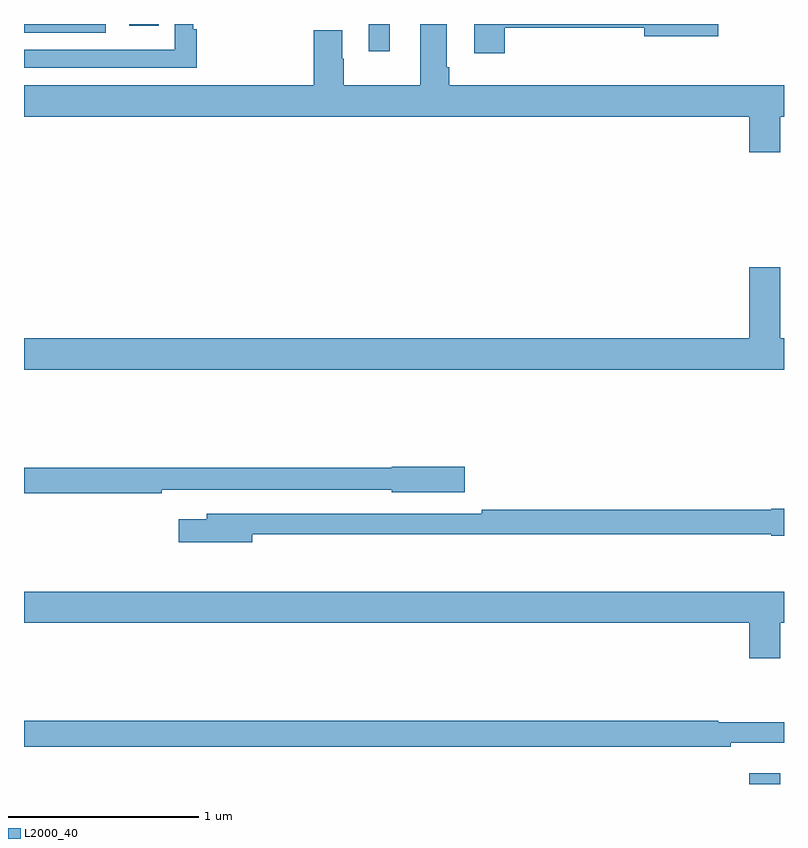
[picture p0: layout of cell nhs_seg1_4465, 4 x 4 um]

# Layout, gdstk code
import gdstk
lib = gdstk.Library(unit=1e-6, precision=1e-09)
def R(c, l, rs):  # rectangles x0, y0, x1, y1
    for r in rs: c.add(gdstk.rectangle(r[:2], r[2:], *l))
def P(c, l, *ps):  # polygons
    for p in ps: c.add(gdstk.Polygon(p, *l))
L2000_40 = (2000, 40)

nhs_seg1_4465 = lib.new_cell('nhs_seg1_4465')
R(nhs_seg1_4465, L2000_40, [(356.816,568.199,356.98,568.255), (354.815,572.055,354.925,572.199), (353,572.154,353.43,572.199), (353.553,572.19,353.708,572.199)])
P(nhs_seg1_4465, L2000_40, [(353.909,572.171),(353.892,572.171),(353.892,572.199),(353.793,572.199),(353.793,572.064),(353,572.064),(353,571.968),(353.909,571.968)],
  [(355.529,572.178),(356.264,572.178),(356.264,572.135),(356.653,572.135),(356.653,572.199),(355.37,572.199),(355.37,572.046),(355.529,572.046)],
  [(356.98,571.712),(357,571.712),(357,571.876),(355.238,571.876),(355.238,571.972),(355.225,571.972),(355.225,572.197),(355.085,572.197),(355.085,571.876),(354.684,571.876),(354.684,572.015),(354.676,572.015),(354.676,572.165),(354.524,572.165),(354.524,571.876),(353,571.876),(353,571.712),(356.816,571.712),(356.816,571.524),(356.98,571.524)],
  [(357,570.544),(356.98,570.544),(356.98,570.919),(356.816,570.919),(356.816,570.544),(353,570.544),(353,570.38),(357,570.38)],
  [(353.726,569.748),(354.936,569.748),(354.936,569.735),(355.321,569.735),(355.321,569.87),(354.936,569.87),(354.936,569.864),(353,569.864),(353,569.728),(353.726,569.728)],
  [(354.202,569.514),(356.934,569.514),(356.934,569.506),(357,569.506),(357,569.648),(356.934,569.648),(356.934,569.642),(355.408,569.642),(355.408,569.622),(353.963,569.622),(353.963,569.593),(353.814,569.593),(353.814,569.471),(354.202,569.471)],
  [(356.98,569.048),(357,569.048),(357,569.212),(353,569.212),(353,569.048),(356.816,569.048),(356.816,568.86),(356.98,568.86)],
  [(356.72,568.415),(357,568.415),(357,568.525),(356.655,568.525),(356.655,568.532),(353,568.532),(353,568.396),(356.72,568.396)])

lib.write_gds('nhs_seg1_4465.gds')
